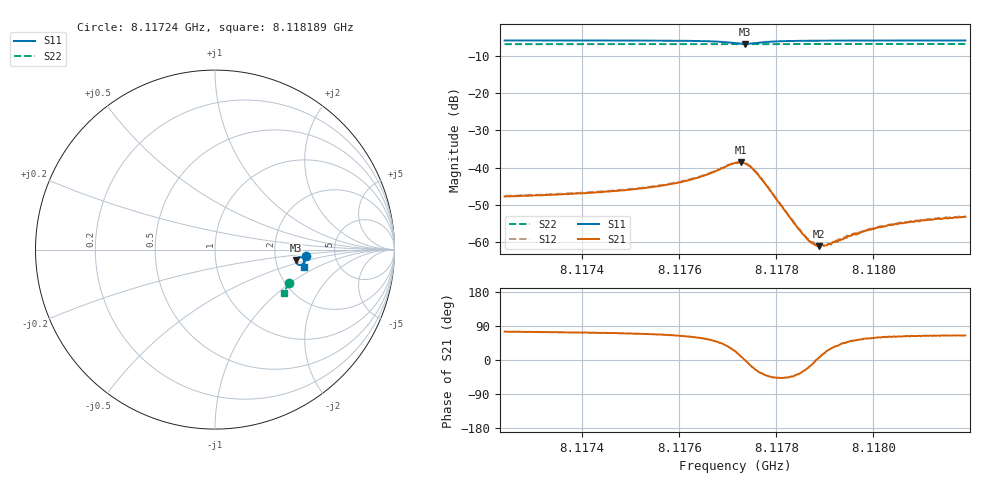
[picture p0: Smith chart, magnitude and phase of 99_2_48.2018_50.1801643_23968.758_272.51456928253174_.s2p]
#  HZ  S  RI  R  50.00
! Rohde & Schwarz Vector Network Analyzer
! Rohde-Schwarz,ZNB20-2Port,1311601062101988,3.16
! Created: UTC 3/20/2024, 11:40:31 AM
! freq[Hz]  re:S11  im:S11  re:S21  im:S21  re:S12  im:S12  re:S22  im:S22
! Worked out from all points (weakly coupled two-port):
!   401 points, 8.11724 GHz to 8.118189 GHz, reference 50 ohm
!   highest |S21| = -38.58 dB at 8.117727 GHz (marker M1); lowest = -61.1 dB at 8.117888 GHz (marker M2)
!   lowest |S11| = -6.8 dB at 8.117736 GHz (marker M3), VSWR 2.67, Z = 130 - j19.8 ohm
!   |S11| at or under -10 dB: nowhere
!   |S22| runs from -6.9 to -6.9 dB; largest |S21 - S12| = 0.00043
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8.1172401e9  0.5043 -0.036  0.00106 0.00396  0.00115 0.00404  0.4115 -0.1852
8.1173991e9  0.5026 -0.0498  0.00136 0.0043  0.00143 0.00439  0.4073 -0.1958
8.1174845e9  0.501 -0.0578  0.00166 0.00467  0.00172 0.00475  0.4047 -0.2013
8.1175581e9  0.4987 -0.0662  0.0022 0.00519  0.00228 0.00527  0.4024 -0.206
8.1175984e9  0.496 -0.0716  0.00274 0.00571  0.00287 0.00575  0.4013 -0.2087
8.1176388e9  0.4914 -0.0781  0.00378 0.0063  0.0039 0.00636  0.3998 -0.2111
8.1177147e9  0.4587 -0.0804  0.0106 0.00462  0.0108 0.00449  0.396 -0.2155
8.1177266e9  0.4523 -0.0707  0.0116 0.00201  0.0118 0.00186  0.3956 -0.2157
8.1177361e9  0.4515 -0.0603  0.0112 -0.000251  0.0115 -0.000385  0.3953 -0.2157
8.117748e9  0.457 -0.0488  0.00978 -0.0027  0.00977 -0.00297  0.3955 -0.2159
8.1177575e9  0.4645 -0.0435  0.00782 -0.00378  0.00798 -0.00385  0.3956 -0.2164
8.1177741e9  0.4772 -0.0419  0.00503 -0.00396  0.00506 -0.00409  0.3957 -0.2175
8.1178429e9  0.4961 -0.0579  0.00125 -0.000971  0.00125 -0.00104  0.3941 -0.2226
8.1178572e9  0.4971 -0.0607  0.00109 -0.000588  0.00109 -0.000624  0.3939 -0.2235
8.1178738e9  0.4978 -0.0636  0.000944 -0.000193  0.00097 -0.000175  0.3932 -0.2246
8.117888e9  0.4981 -0.0659  0.000878 0.000102  0.000905 9.42e-05  0.3928 -0.2254
8.1178999e9  0.4982 -0.0675  0.000857 0.000282  0.000892 0.0003  0.3925 -0.2264
8.1179117e9  0.4983 -0.0692  0.000819 0.000466  0.000822 0.000424  0.392 -0.2272
8.1179616e9  0.4983 -0.0753  0.00081 0.00102  0.000821 0.00105  0.3905 -0.2304
8.1180328e9  0.4978 -0.0827  0.000794 0.0015  0.000864 0.00148  0.3879 -0.2348
8.1181301e9  0.4967 -0.0914  0.00089 0.00185  0.000931 0.00185  0.3847 -0.2407
8.1181894e9  0.4957 -0.0965  0.000934 0.00199  0.000984 0.00201  0.3826 -0.2443
